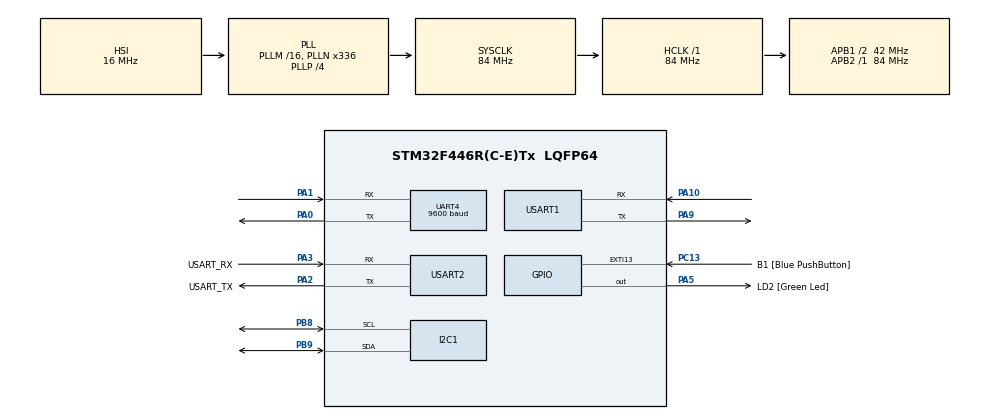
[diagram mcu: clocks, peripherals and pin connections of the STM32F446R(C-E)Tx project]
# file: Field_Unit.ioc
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Mcu.Family=STM32F4
Mcu.Name=STM32F446R(C-E)Tx
Mcu.Package=LQFP64
NVIC.EXTI15_10_IRQn=true\:0\:0\:false\:false\:true\:true\:true\:true
NVIC.PriorityGroup=NVIC_PRIORITYGROUP_0
NVIC.USART1_IRQn=true\:0\:0\:false\:false\:true\:true\:true\:true
PA0-WKUP.Mode=Asynchronous
PA0-WKUP.Signal=UART4_TX
PA1.Mode=Asynchronous
PA1.Signal=UART4_RX
PA10.Mode=Asynchronous
PA10.Signal=USART1_RX
PA13.GPIO_Label=TMS
PA13.Mode=Serial_Wire
PA13.Signal=SYS_JTMS-SWDIO
PA14.GPIO_Label=TCK
PA14.Mode=Serial_Wire
PA14.Signal=SYS_JTCK-SWCLK
PA2.GPIO_Label=USART_TX
PA2.Mode=Asynchronous
PA2.Signal=USART2_TX
PA3.GPIO_Label=USART_RX
PA3.Mode=Asynchronous
PA3.Signal=USART2_RX
PA5.GPIO_Label=LD2 [Green Led]
PA5.Signal=GPIO_Output
PA9.Mode=Asynchronous
PA9.Signal=USART1_TX
PB3.GPIO_Label=SWO
PB3.Signal=SYS_JTDO-SWO
PB8.Mode=I2C
PB8.Signal=I2C1_SCL
PB9.Mode=I2C
PB9.Signal=I2C1_SDA
PC13.GPIO_Label=B1 [Blue PushButton]
PC13.GPIO_ModeDefaultEXTI=GPIO_MODE_IT_FALLING
PC13.Signal=GPXTI13
PC14-OSC32_IN.Mode=LSE-External-Oscillator
PC14-OSC32_IN.Signal=RCC_OSC32_IN
PC15-OSC32_OUT.Mode=LSE-External-Oscillator
PC15-OSC32_OUT.Signal=RCC_OSC32_OUT
PH0-OSC_IN.Mode=HSE-External-Oscillator
PH0-OSC_IN.Signal=RCC_OSC_IN
PH1-OSC_OUT.Mode=HSE-External-Oscillator
PH1-OSC_OUT.Signal=RCC_OSC_OUT
ProjectManager.HeapSize=0x200
ProjectManager.StackSize=0x400
ProjectManager.TargetToolchain=STM32CubeIDE
RCC.48MHZClocksFreq_Value=84000000
RCC.AHBFreq_Value=84000000
RCC.APB1CLKDivider=RCC_HCLK_DIV2
RCC.APB1Freq_Value=42000000
RCC.APB1TimFreq_Value=84000000
RCC.APB2Freq_Value=84000000
RCC.APB2TimFreq_Value=84000000
RCC.CortexFreq_Value=84000000
RCC.FLatency-AdvancedSettings=FLASH_LATENCY_2
RCC.HCLKFreq_Value=84000000
RCC.HSE_VALUE=8000000
RCC.HSI_VALUE=16000000
RCC.PLLN=336
RCC.PLLP=RCC_PLLP_DIV4
RCC.SYSCLKFreq_VALUE=84000000
RCC.SYSCLKSource=RCC_SYSCLKSOURCE_PLLCLK
RCC.USBFreq_Value=168000000
RCC.VCOOutputFreq_Value=336000000
UART4.BaudRate=9600
UART4.VirtualMode=Asynchronous
USART1.VirtualMode=VM_ASYNC
USART2.VirtualMode=VM_ASYNC
board=NUCLEO-F446RE

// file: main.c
/* USER CODE BEGIN Header */
/**
  ******************************************************************************
  * @file           : main.c
  * @brief          : PECRN Field Node - Protocol V1
  ******************************************************************************
  */
/* USER CODE END Header */

#include "main.h"

/* USER CODE BEGIN Includes */
#include <string.h>
#include <stdlib.h>
#include <stdio.h>
#include <stdarg.h>
#include <math.h>

#include "ssd1306.h"
#include "ssd1306_fonts.h"
/* USER CODE END Includes */

/* USER CODE BEGIN PTD */

typedef enum
{
    GPS_STATE_SEARCHING = 0,
    GPS_STATE_FIX,
    GPS_STATE_LOST
} GPS_State_t;

/* USER CODE END PTD */

/* USER CODE BEGIN PD */

#define PROTOCOL_VERSION        "P1"

#define NODE_ID                 1
#define RELAY_ADDRESS           0

#define GPS_SEND_INTERVAL_MS    5000U
#define STATUS_INTERVAL_MS      10000U
#define GPS_FIX_TIMEOUT_MS      5000U

#define RACK_TIMEOUT_MS         2000U
#define MAX_RELAY_RETRIES       3
#define RETRY_DELAY_MS          100U

#define SOS_DEBOUNCE_MS         300U

#define GPS_MIN_FIX_QUALITY     1
#define GPS_MIN_SATELLITES      1
#define GPS_MAX_SATELLITES      64

#define GPS_LINE_SIZE           128
#define LORA_RX_SIZE            180
#define PACKET_SIZE             120
#define LORA_COMMAND_SIZE       160
#define DEBUG_BUFFER_SIZE       220

/*
 * Interrupt-driven LoRa RX ring buffer.
 */
#define LORA_RING_SIZE          512

/* USER CODE END PD */

I2C_HandleTypeDef hi2c1;

UART_HandleTypeDef huart4;
UART_HandleTypeDef huart1;
UART_HandleTypeDef huart2;

/* USER CODE BEGIN PV */

/* ============================================================
 * GPS
 * ============================================================ */

char gps_line[GPS_LINE_SIZE];
uint8_t gps_index = 0;

float latitude = 0.0f;
float longitude = 0.0f;

float last_latitude = 0.0f;
float last_longitude = 0.0f;

int satellites = 0;
int gps_fix = 0;

uint8_t has_last_position = 0;

GPS_State_t gps_state = GPS_STATE_SEARCHING;

uint32_t last_valid_fix_time = 0;

/* ============================================================
 * PACKET COUNTER
 * ============================================================ */

uint32_t packet_id = 0;

/* ============================================================
 * SOS
 * ============================================================ */

volatile uint8_t sos_requested = 0;
volatile uint32_t last_sos_interrupt_time = 0;

/* ============================================================
 * PERIODIC TIMERS
 * ============================================================ */

uint32_t last_gps_send = 0;
uint32_t last_status_send = 0;

/* ============================================================
 * LORA
 * ============================================================ */

/*
 * USART1 receives one byte at a time using interrupts.
 */
volatile uint8_t lora_uart_rx_byte;

/*
 * Software ring buffer.
 */
volatile uint8_t lora_ring[LORA_RING_SIZE];

volatile uint16_t lora_ring_head = 0;
volatile uint16_t lora_ring_tail = 0;

volatile uint8_t lora_ring_overflow = 0;

/*
 * Used when reconstructing unsolicited RYLR998 lines.
 */
char lora_rx_line[LORA_RX_SIZE];
uint16_t lora_rx_index = 0;

/* ============================================================
 * OLED
 * ============================================================ */

uint32_t last_oled_search_update = 0;

/* USER CODE END PV */

void SystemClock_Config(void);

static void MX_GPIO_Init(void);
static void MX_USART2_UART_Init(void);
static void MX_USART1_UART_Init(void);
static void MX_UART4_Init(void);
static void MX_I2C1_Init(void);

/* USER CODE BEGIN PFP */

static void Debug_Print(const char *format, ...);

static void OLED_ShowSearching(void);
static void OLED_ShowGPS(void);
static void OLED_ShowLost(void);
static void OLED_ShowSOS(const char *status);
static void OLED_ShowCommunicationFailure(void);

static void ProcessGPSByte(uint8_t byte);
static void ProcessGPSLine(void);
static void UpdateGPSState(void);
static uint8_t GPSPositionIsValid(void);

static void ProcessUnsolicitedLoRaByte(uint8_t byte);

static uint8_t LoRa_GetByte(uint8_t *byte);
static void FlushLoRaUART(void);

static uint8_t WaitForRelayACK(uint32_t expected_packet_id,
                               uint32_t timeout_ms);

static uint8_t SendPacketToRelayReliable(const char *packet,
                                         uint32_t id,
                                         uint8_t is_sos);

static void SendStatusPacket(void);
static void SendGPSPacket(void);
static void SendSOSPacket(void);

static void RestoreOLEDState(void);

static uint32_t NextPacketID(void);

/* USER CODE END PFP */

/* USER CODE BEGIN 0 */

/* ============================================================
 * DEBUG
 * ============================================================ */

static void Debug_Print(const char *format, ...)
{
    char buffer[DEBUG_BUFFER_SIZE];

    va_list args;

    va_start(args, format);

    vsnprintf(buffer,
              sizeof(buffer),
              format,
              args);

    va_end(args);

    HAL_UART_Transmit(&huart2,
                      (uint8_t *)buffer,
                      strlen(buffer),
                      100);
}

/* ============================================================
 * PACKET ID
 * ============================================================ */

static uint32_t NextPacketID(void)
{
    packet_id++;

    if (packet_id == 0)
    {
        packet_id = 1;
    }

    return packet_id;
}

/* ============================================================
 * GPS VALIDATION
 * ============================================================ */

static uint8_t GPSPositionIsValid(void)
{
    if (gps_fix < GPS_MIN_FIX_QUALITY)
    {
        return 0;
    }

    if (satellites < GPS_MIN_SATELLITES ||
        satellites > GPS_MAX_SATELLITES)
    {
        return 0;
    }

    if (!isfinite(latitude) ||
        !isfinite(longitude))
    {
        return 0;
    }

    if (latitude < -90.0f ||
        latitude > 90.0f)
    {
        return 0;
    }

    if (longitude < -180.0f ||
        longitude > 180.0f)
    {
        return 0;
    }

    if (fabsf(latitude) < 0.00001f &&
        fabsf(longitude) < 0.00001f)
    {
        return 0;
    }

    return 1;
}

/* ============================================================
 * OLED
 * ============================================================ */

static void OLED_ShowSearching(void)
{
    char buffer[32];

    ssd1306_Fill(Black);

    ssd1306_SetCursor(0, 0);
    ssd1306_WriteString("PECRN FIELD",
                        Font_7x10,
                        White);

    ssd1306_SetCursor(0, 18);
    ssd1306_WriteString("GPS SEARCHING",
                        Font_6x8,
                        White);

    ssd1306_SetCursor(0, 32);

    snprintf(buffer,
             sizeof(buffer),
             "SAT %d",
             satellites);

    ssd1306_WriteString(buffer,
                        Font_6x8,
                        White);

    ssd1306_SetCursor(0, 46);
    ssd1306_WriteString("NODE 1",
                        Font_6x8,
                        White);

    ssd1306_UpdateScreen();
}

static void OLED_ShowGPS(void)
{
    char buffer[32];

    ssd1306_Fill(Black);

    ssd1306_SetCursor(0, 0);
    ssd1306_WriteString("GPS FIX",
                        Font_7x10,
                        White);

    ssd1306_SetCursor(0, 16);

    snprintf(buffer,
             sizeof(buffer),
             "LAT %.5f",
             latitude);

    ssd1306_WriteString(buffer,
                        Font_6x8,
                        White);

    ssd1306_SetCursor(0, 28);

    snprintf(buffer,
             sizeof(buffer),
             "LON %.5f",
             longitude);

    ssd1306_WriteString(buffer,
                        Font_6x8,
                        White);

    ssd1306_SetCursor(0, 40);

    snprintf(buffer,
             sizeof(buffer),
             "SAT %d",
             satellites);

    ssd1306_WriteString(buffer,
                        Font_6x8,
                        White);

    ssd1306_SetCursor(0, 52);

    ssd1306_WriteString("NODE 1",
                        Font_6x8,
                        White);

    ssd1306_UpdateScreen();
}

static void OLED_ShowLost(void)
{
    ssd1306_Fill(Black);

    ssd1306_SetCursor(0, 0);
    ssd1306_WriteString("PECRN FIELD",
                        Font_7x10,
                        White);

    ssd1306_SetCursor(0, 18);
    ssd1306_WriteString("GPS LOST",
                        Font_7x10,
                        White);

    ssd1306_SetCursor(0, 34);

    if (has_last_position)
    {
        ssd1306_WriteString("LAST POS SAVED",
                            Font_6x8,
                            White);
    }
    else
    {
        ssd1306_WriteString("NO POSITION",
                            Font_6x8,
                            White);
    }

    ssd1306_SetCursor(0, 48);

    ssd1306_WriteString("SEARCHING...",
                        Font_6x8,
                        White);

    ssd1306_UpdateScreen();
}

static void OLED_ShowSOS(const char *status)
{
    ssd1306_Fill(Black);

    ssd1306_SetCursor(0, 0);

    ssd1306_WriteString("!!! SOS !!!",
                        Font_11x18,
                        White);

    ssd1306_SetCursor(0, 26);

    ssd1306_WriteString("EMERGENCY",
                        Font_7x10,
                        White);

    ssd1306_SetCursor(0, 42);

    ssd1306_WriteString((char *)status,
                        Font_6x8,
                        White);

    ssd1306_UpdateScreen();
}

static void OLED_ShowCommunicationFailure(void)
{
    ssd1306_Fill(Black);

    ssd1306_SetCursor(0, 0);

    ssd1306_WriteString("PECRN FIELD",
                        Font_7x10,
                        White);

    ssd1306_SetCursor(0, 18);

    ssd1306_WriteString("RADIO ERROR",
                        Font_7x10,
                        White);

    ssd1306_SetCursor(0, 36);

    ssd1306_WriteString("RELAY NO ACK",
                        Font_6x8,
                        White);

    ssd1306_UpdateScreen();
}

static void RestoreOLEDState(void)
{
    if (gps_state == GPS_STATE_FIX)
    {
        OLED_ShowGPS();
    }
    else if (gps_state == GPS_STATE_LOST)
    {
        OLED_ShowLost();
    }
    else
    {
        OLED_ShowSearching();
    }
}

/* ============================================================
 * GPS BYTE PROCESSING
 * ============================================================ */

static void ProcessGPSByte(uint8_t byte)
{
    if (byte == '\n')
    {
        gps_line[gps_index] = '\0';

        ProcessGPSLine();

        gps_index = 0;
    }
    else if (byte != '\r')
    {
        if (gps_index < GPS_LINE_SIZE - 1)
        {
            gps_line[gps_index++] = byte;
        }
        else
        {
            gps_index = 0;
        }
    }
}

/* ============================================================
 * GPS NMEA GGA PARSER
 * ============================================================ */

static void ProcessGPSLine(void)
{
    if ((strncmp(gps_line, "$GPGGA,", 7) != 0) &&
        (strncmp(gps_line, "$GNGGA,", 7) != 0))
    {
        return;
    }

    char copy[GPS_LINE_SIZE];

    strncpy(copy,
            gps_line,
            sizeof(copy) - 1);

    copy[sizeof(copy) - 1] = '\0';

    char *fields[15];

    int fieldCount = 0;

    fields[fieldCount++] = copy;

    for (char *p = copy;
         *p != '\0' && fieldCount < 15;
         p++)
    {
        if (*p == ',')
        {
            *p = '\0';

            fields[fieldCount++] =
                p + 1;
        }
    }

    if (fieldCount < 8)
    {
        Debug_Print(
            "[GPS] Reject: incomplete GGA\r\n");

        return;
    }

    const char *lat_str = fields[2];
    const char *ns_str  = fields[3];
    const char *lon_str = fields[4];
    const char *ew_str  = fields[5];
    const char *fix_str = fields[6];
    const char *sat_str = fields[7];

    if (strlen(lat_str) == 0 ||
        strlen(ns_str) == 0 ||
        strlen(lon_str) == 0 ||
        strlen(ew_str) == 0 ||
        strlen(fix_str) == 0 ||
        strlen(sat_str) == 0)
    {
        gps_fix = 0;
        return;
    }

    char ns = ns_str[0];
    char ew = ew_str[0];

    if (ns != 'N' && ns != 'S')
    {
        gps_fix = 0;
        return;
    }

    if (ew != 'E' && ew != 'W')
    {
        gps_fix = 0;
        return;
    }

    char *fix_end;
    char *sat_end;

    long new_fix_long =
        strtol(fix_str,
               &fix_end,
               10);

    long new_sat_long =
        strtol(sat_str,
               &sat_end,
               10);

    if (fix_end == fix_str ||
        *fix_end != '\0')
    {
        gps_fix = 0;
        return;
    }

    if (sat_end == sat_str ||
        *sat_end != '\0')
    {
        gps_fix = 0;
        return;
    }

    int new_fix =
        (int)new_fix_long;

    int new_satellites =
        (int)new_sat_long;

    if (new_satellites >= 0 &&
        new_satellites <= GPS_MAX_SATELLITES)
    {
        satellites =
            new_satellites;
    }

    if (new_fix < GPS_MIN_FIX_QUALITY)
    {
        gps_fix = 0;
        return;
    }

    if (new_satellites < GPS_MIN_SATELLITES ||
        new_satellites > GPS_MAX_SATELLITES)
    {
        gps_fix = 0;
        return;
    }

    char *lat_end;
    char *lon_end;

    float raw_lat =
        strtof(lat_str,
               &lat_end);

    float raw_lon =
        strtof(lon_str,
               &lon_end);

    if (lat_end == lat_str ||
        *lat_end != '\0')
    {
        gps_fix = 0;
        return;
    }

    if (lon_end == lon_str ||
        *lon_end != '\0')
    {
        gps_fix = 0;
        return;
    }

    if (!isfinite(raw_lat) ||
        !isfinite(raw_lon))
    {
        gps_fix = 0;
        return;
    }

    if (raw_lat <= 0.0f ||
        raw_lon <= 0.0f)
    {
        gps_fix = 0;
        return;
    }

    int lat_deg =
        (int)(raw_lat / 100.0f);

    int lon_deg =
        (int)(raw_lon / 100.0f);

    float lat_minutes =
        raw_lat -
        ((float)lat_deg * 100.0f);

    float lon_minutes =
        raw_lon -
        ((float)lon_deg * 100.0f);

    if (lat_minutes < 0.0f ||
        lat_minutes >= 60.0f ||
        lon_minutes < 0.0f ||
        lon_minutes >= 60.0f)
    {
        gps_fix = 0;
        return;
    }

    if (lat_deg < 0 ||
        lat_deg > 90 ||
        lon_deg < 0 ||
        lon_deg > 180)
    {
        gps_fix = 0;
        return;
    }

    float new_latitude =
        (float)lat_deg +
        lat_minutes / 60.0f;

    float new_longitude =
        (float)lon_deg +
        lon_minutes / 60.0f;

    if (ns == 'S')
    {
        new_latitude =
            -new_latitude;
    }

    if (ew == 'W')
    {
        new_longitude =
            -new_longitude;
    }

    if (!isfinite(new_latitude) ||
        !isfinite(new_longitude))
    {
        gps_fix = 0;
        return;
    }

    if (new_latitude < -90.0f ||
        new_latitude > 90.0f ||
        new_longitude < -180.0f ||
        new_longitude > 180.0f)
    {
        gps_fix = 0;
        return;
    }

    if (fabsf(new_latitude) < 0.00001f &&
        fabsf(new_longitude) < 0.00001f)
    {
        gps_fix = 0;
        return;
    }

    latitude =
        new_latitude;

    longitude =
        new_longitude;

    gps_fix =
        new_fix;

    satellites =
        new_satellites;

    last_latitude =
        latitude;

    last_longitude =
        longitude;

    has_last_position =
        1;

    last_valid_fix_time =
        HAL_GetTick();

    if (gps_state != GPS_STATE_FIX)
    {
        Debug_Print(
            "[GPS] VALID FIX ACQUIRED\r\n");

        Debug_Print(
            "[GPS] LAT %.5f LON %.5f SAT %d FIX %d\r\n",
            latitude,
            longitude,
            satellites,
            gps_fix);
    }

    gps_state =
        GPS_STATE_FIX;

    OLED_ShowGPS();
}

/* ============================================================
 * GPS LOST DETECTION
 * ============================================================ */

static void UpdateGPSState(void)
{
    uint32_t now =
        HAL_GetTick();

    if (gps_state == GPS_STATE_FIX &&
        (now - last_valid_fix_time >
         GPS_FIX_TIMEOUT_MS))
    {
        gps_state =
            GPS_STATE_LOST;

        gps_fix =
            0;

        Debug_Print(
            "[GPS] FIX LOST\r\n");

        OLED_ShowLost();
    }
}

/* ============================================================
 * UNSOLICITED LORA DATA
 * ============================================================ */

static void ProcessUnsolicitedLoRaByte(uint8_t byte)
{
    if (byte == '\n')
    {
        lora_rx_line[lora_rx_index] =
            '\0';

        if (lora_rx_index > 0)
        {
            Debug_Print(
                "[LORA] %s\r\n",
                lora_rx_line);
        }

        lora_rx_index = 0;

        memset(lora_rx_line,
               0,
               sizeof(lora_rx_line));
    }
    else if (byte != '\r')
    {
        if (lora_rx_index <
            LORA_RX_SIZE - 1)
        {
            lora_rx_line[lora_rx_index++] =
                (char)byte;
        }
        else
        {
            lora_rx_index = 0;

            memset(lora_rx_line,
                   0,
                   sizeof(lora_rx_line));
        }
    }
}

/* ============================================================
 * LORA INTERRUPT RING BUFFER
 * ============================================================ */

static uint8_t LoRa_GetByte(uint8_t *byte)
{
    if (lora_ring_tail ==
        lora_ring_head)
    {
        return 0;
    }

    *byte =
        lora_ring[lora_ring_tail];

    lora_ring_tail =
        (uint16_t)(
            (lora_ring_tail + 1U) %
            LORA_RING_SIZE);

    return 1;
}

/* ============================================================
 * FLUSH OLD LORA DATA
 * ============================================================ */

static void FlushLoRaUART(void)
{
    /*
     * USART1 itself remains interrupt-driven.
     *
     * We only discard bytes currently waiting in
     * the software ring buffer.
     */

    __disable_irq();

    lora_ring_tail =
        lora_ring_head;

    lora_ring_overflow =
        0;

    __enable_irq();

    lora_rx_index =
        0;

    memset(lora_rx_line,
           0,
           sizeof(lora_rx_line));
}

/* ============================================================
 * WAIT FOR RELAY RACK
 *
 * Expected RYLR998 response:
 *
 * +RCV=0,<length>,P1,RACK,1,<packetID>,RSSI,SNR
 *
 * USART1 reception itself is interrupt-driven.
 * ============================================================ */

static uint8_t WaitForRelayACK(uint32_t expected_packet_id,
                               uint32_t timeout_ms)
{
    uint32_t start =
        HAL_GetTick();

    char line[LORA_RX_SIZE];

    uint16_t line_index =
        0;

    memset(line,
           0,
           sizeof(line));

    char expected_ack[48];

    snprintf(expected_ack,
             sizeof(expected_ack),
             "%s,RACK,%d,%lu",
             PROTOCOL_VERSION,
             NODE_ID,
             (unsigned long)
             expected_packet_id);

    Debug_Print(
        "[RACK WAIT] Expecting %s\r\n",
        expected_ack);

    while ((HAL_GetTick() - start) <
           timeout_ms)
    {
        uint8_t byte;

        /*
         * Keep GPS alive while waiting.
         */
        while (HAL_UART_Receive(&huart4,
                                &byte,
                                1,
                                1) == HAL_OK)
        {
            ProcessGPSByte(byte);
        }

        /*
         * USART1 interrupt places bytes into
         * the ring buffer.
         */
        if (!LoRa_GetByte(&byte))
        {
            UpdateGPSState();
            continue;
        }

        /*
         * Ignore carriage return.
         */
        if (byte == '\r')
        {
            continue;
        }

        /*
         * Newline = complete RYLR998 response.
         */
        if (byte == '\n')
        {
            if (line_index == 0)
            {
                continue;
            }

            line[line_index] =
                '\0';

            Debug_Print(
                "[LORA RX LINE] %s\r\n",
                line);

            /*
             * Local RYLR998 accepted AT+SEND.
             *
             * This is NOT the relay RACK.
             */
            if (strcmp(line,
                       "+OK") == 0)
            {
                Debug_Print(
                    "[LORA] TX command accepted\r\n");

                line_index = 0;

                memset(line,
                       0,
                       sizeof(line));

                continue;
            }

            /*
             * RYLR998 error.
             */
            if (strncmp(line,
                        "+ERR=",
                        5) == 0)
            {
                Debug_Print(
                    "[LORA ERROR] %s\r\n",
                    line);

                line_index = 0;

                memset(line,
                       0,
                       sizeof(line));

                continue;
            }

            /*
             * Incoming LoRa packet.
             */
            if (strncmp(line,
                        "+RCV=",
                        5) == 0)
            {
                char *first_comma =
                    strchr(line, ',');

                if (first_comma != NULL)
                {
                    char address_buffer[12];

                    size_t address_length =
                        (size_t)(
                            first_comma -
                            (line + 5));

                    if (address_length > 0 &&
                        address_length <
                        sizeof(address_buffer))
                    {
                        memcpy(
                            address_buffer,
                            line + 5,
                            address_length);

                        address_buffer[
                            address_length] =
                            '\0';

                        int source_address =
                            atoi(address_buffer);

                        Debug_Print(
                            "[LORA RX] Source %d\r\n",
                            source_address);

                        /*
                         * RACK must come from relay 0.
                         */
                        if (source_address ==
                            RELAY_ADDRESS)
                        {
                            if (strstr(
                                    line,
                                    expected_ack)
                                != NULL)
                            {
                                Debug_Print(
                                    "[RACK] Packet %lu accepted by relay\r\n",
                                    (unsigned long)
                                    expected_packet_id);

                                return 1;
                            }

                            Debug_Print(
                                "[RACK] Relay packet does not match expected ACK\r\n");
                        }
                        else
                        {
                            Debug_Print(
                                "[RACK] Ignoring LoRa source %d\r\n",
                                source_address);
                        }
                    }
                }
            }

            line_index =
                0;

            memset(line,
                   0,
                   sizeof(line));

            continue;
        }

        /*
         * Normal UART character.
         */
        if (line_index <
            sizeof(line) - 1)
        {
            line[line_index++] =
                (char)byte;
        }
        else
        {
            Debug_Print(
                "[LORA] RX line overflow - discarded\r\n");

            line_index =
                0;

            memset(line,
                   0,
                   sizeof(line));
        }

        UpdateGPSState();
    }

    Debug_Print(
        "[RACK TIMEOUT] Packet %lu\r\n",
        (unsigned long)
        expected_packet_id);

    return 0;
}

/* ============================================================
 * RELIABLE FIELD -> RELAY SEND
 * ============================================================ */

static uint8_t SendPacketToRelayReliable(const char *packet,
                                         uint32_t id,
                                         uint8_t is_sos)
{
    char command[LORA_COMMAND_SIZE];

    size_t payload_length =
        strlen(packet);

    snprintf(command,
             sizeof(command),
             "AT+SEND=%d,%u,%s\r\n",
             RELAY_ADDRESS,
             (unsigned int)
             payload_length,
             packet);

    for (int attempt = 1;
         attempt <= MAX_RELAY_RETRIES;
         attempt++)
    {
        /*
         * SOS has priority over ordinary telemetry.
         */
        if (!is_sos &&
            sos_requested)
        {
            Debug_Print(
                "[TX] Normal packet interrupted by SOS\r\n");

            return 0;
        }

        /*
         * Remove old responses before sending.
         */
        FlushLoRaUART();

        Debug_Print(
            "[TX] Packet %lu attempt %d/%d\r\n",
            (unsigned long)id,
            attempt,
            MAX_RELAY_RETRIES);

        Debug_Print(
            "[TX] %s\r\n",
            packet);

        HAL_UART_Transmit(
            &huart1,
            (uint8_t *)command,
            strlen(command),
            HAL_MAX_DELAY);

        if (WaitForRelayACK(
                id,
                RACK_TIMEOUT_MS))
        {
            return 1;
        }

        /*
         * Short retry delay while still processing GPS.
         */
        uint32_t delay_start =
            HAL_GetTick();

        while ((HAL_GetTick() -
                delay_start) <
               RETRY_DELAY_MS)
        {
            uint8_t gps_byte;

            if (HAL_UART_Receive(
                    &huart4,
                    &gps_byte,
                    1,
                    1) == HAL_OK)
            {
                ProcessGPSByte(
                    gps_byte);
            }

            if (!is_sos &&
                sos_requested)
            {
                return 0;
            }
        }
    }

    Debug_Print(
        "[ERROR] Packet %lu not accepted by relay\r\n",
        (unsigned long)id);

    return 0;
}

/* ============================================================
 * STATUS PACKET
 * ============================================================ */

static void SendStatusPacket(void)
{
    char packet[PACKET_SIZE];

    uint32_t id =
        NextPacketID();

    if (gps_state == GPS_STATE_FIX &&
        GPSPositionIsValid())
    {
        snprintf(
            packet,
            sizeof(packet),
            "%s,STATUS,%d,%lu,GPS_FIX,%d",
            PROTOCOL_VERSION,
            NODE_ID,
            (unsigned long)id,
            satellites);
    }
    else if (gps_state ==
             GPS_STATE_LOST &&
             has_last_position)
    {
        snprintf(
            packet,
            sizeof(packet),
            "%s,STATUS,%d,%lu,GPS_LOST",
            PROTOCOL_VERSION,
            NODE_ID,
            (unsigned long)id);
    }
    else
    {
        snprintf(
            packet,
            sizeof(packet),
            "%s,STATUS,%d,%lu,NO_GPS",
            PROTOCOL_VERSION,
            NODE_ID,
            (unsigned long)id);
    }

    uint8_t success =
        SendPacketToRelayReliable(
            packet,
            id,
            0);

    if (!success &&
        !sos_requested)
    {
        Debug_Print(
            "[STATUS] Relay unavailable\r\n");
    }
}

/* ============================================================
 * GPS PACKET
 * ============================================================ */

static void SendGPSPacket(void)
{
    if (gps_state !=
        GPS_STATE_FIX)
    {
        return;
    }

    if (!GPSPositionIsValid())
    {
        Debug_Print(
            "[GPS] TX BLOCKED: invalid GPS state\r\n");

        gps_fix =
            0;

        if (has_last_position)
        {
            gps_state =
                GPS_STATE_LOST;

            OLED_ShowLost();
        }
        else
        {
            gps_state =
                GPS_STATE_SEARCHING;

            OLED_ShowSearching();
        }

        return;
    }

    char packet[PACKET_SIZE];

    uint32_t id =
        NextPacketID();

    snprintf(
        packet,
        sizeof(packet),
        "%s,GPS,%d,%lu,%.5f,%.5f,%d",
        PROTOCOL_VERSION,
        NODE_ID,
        (unsigned long)id,
        latitude,
        longitude,
        satellites);

    uint8_t success =
        SendPacketToRelayReliable(
            packet,
            id,
            0);

    if (!success &&
        !sos_requested)
    {
        Debug_Print(
            "[GPS] Relay unavailable - telemetry dropped\r\n");
    }
}

/* ============================================================
 * SOS PACKET
 * ============================================================ */

static void SendSOSPacket(void)
{
    char packet[PACKET_SIZE];

    uint32_t id =
        NextPacketID();

    if (gps_state == GPS_STATE_FIX &&
        GPSPositionIsValid())
    {
        snprintf(
            packet,
            sizeof(packet),
            "%s,SOS,%d,%lu,%.5f,%.5f,FIX",
            PROTOCOL_VERSION,
            NODE_ID,
            (unsigned long)id,
            latitude,
            longitude);

        OLED_ShowSOS(
            "GPS CURRENT");
    }
    else if (has_last_position &&
             isfinite(last_latitude) &&
             isfinite(last_longitude) &&
             last_latitude >= -90.0f &&
             last_latitude <= 90.0f &&
             last_longitude >= -180.0f &&
             last_longitude <= 180.0f &&
             !(fabsf(last_latitude) <
                   0.00001f &&
               fabsf(last_longitude) <
                   0.00001f))
    {
        snprintf(
            packet,
            sizeof(packet),
            "%s,SOS,%d,%lu,%.5f,%.5f,LAST_KNOWN",
            PROTOCOL_VERSION,
            NODE_ID,
            (unsigned long)id,
            last_latitude,
            last_longitude);

        OLED_ShowSOS(
            "LAST GPS POS");
    }
    else
    {
        has_last_position =
            0;

        last_latitude =
            0.0f;

        last_longitude =
            0.0f;

        snprintf(
            packet,
            sizeof(packet),
            "%s,SOS,%d,%lu,NO_GPS",
            PROTOCOL_VERSION,
            NODE_ID,
            (unsigned long)id);

        OLED_ShowSOS(
            "NO GPS FIX");
    }

    Debug_Print("\r\n");

    Debug_Print(
        "********************************\r\n");

    Debug_Print(
        "*** SOS BUTTON PRESSED      ***\r\n");

    Debug_Print(
        "*** Packet ID: %-10lu ***\r\n",
        (unsigned long)id);

    Debug_Print(
        "********************************\r\n");

    Debug_Print(
        "[SOS] %s\r\n",
        packet);

    uint8_t accepted =
        SendPacketToRelayReliable(
            packet,
            id,
            1);

    if (accepted)
    {
        Debug_Print(
            "[SOS] Relay accepted emergency packet %lu\r\n",
            (unsigned long)id);

        OLED_ShowSOS(
            "RELAY ACCEPTED");

        uint32_t start =
            HAL_GetTick();

        while ((HAL_GetTick() - start) <
               1000U)
        {
            uint8_t gps_byte;

            if (HAL_UART_Receive(
                    &huart4,
                    &gps_byte,
                    1,
                    1) == HAL_OK)
            {
                ProcessGPSByte(
                    gps_byte);
            }
        }
    }
    else
    {
        Debug_Print(
            "[SOS] CRITICAL: Relay did not accept packet %lu\r\n",
            (unsigned long)id);

        OLED_ShowCommunicationFailure();

        uint32_t start =
            HAL_GetTick();

        while ((HAL_GetTick() - start) <
               2000U)
        {
            uint8_t gps_byte;

            if (HAL_UART_Receive(
                    &huart4,
                    &gps_byte,
                    1,
                    1) == HAL_OK)
            {
                ProcessGPSByte(
                    gps_byte);
            }
        }
    }

    RestoreOLEDState();
}

/* USER CODE END 0 */

int main(void)
{

    /* MCU Configuration------------------------------------------------------*/

    HAL_Init();

    SystemClock_Config();

    /* Initialize all configured peripherals */

    MX_GPIO_Init();

    MX_USART2_UART_Init();

    MX_USART1_UART_Init();

    MX_UART4_Init();

    MX_I2C1_Init();

    /* USER CODE BEGIN 2 */

    ssd1306_Init();

    OLED_ShowSearching();

    /*
     * ========================================================
     * START INTERRUPT-DRIVEN RYLR998 RECEPTION
     * ========================================================
     *
     * Receive one USART1 byte.
     *
     * HAL_UART_RxCpltCallback() will store it and immediately
     * arm reception for the next byte.
     */

    if (HAL_UART_Receive_IT(
            &huart1,
            (uint8_t *)&lora_uart_rx_byte,
            1) != HAL_OK)
    {
        Error_Handler();
    }

    Debug_Print("\r\n");

    Debug_Print(
        "========================================\r\n");

    Debug_Print(
        "PECRN FIELD NODE\r\n");

    Debug_Print(
        "Protocol: %s\r\n",
        PROTOCOL_VERSION);

    Debug_Print(
        "Node ID: %d\r\n",
        NODE_ID);

    Debug_Print(
        "Relay LoRa Address: %d\r\n",
        RELAY_ADDRESS);

    Debug_Print(
        "GPS UART: 9600\r\n");

    Debug_Print(
        "LoRa UART: 115200 INTERRUPT RX\r\n");

    Debug_Print(
        "SOS Button: PC13 / B1\r\n");

    Debug_Print(
        "GPS validation: ENABLED\r\n");

    Debug_Print(
        "RACK timeout: %lu ms\r\n",
        (unsigned long)
        RACK_TIMEOUT_MS);

    Debug_Print(
        "Max relay attempts: %d\r\n",
        MAX_RELAY_RETRIES);

    Debug_Print(
        "========================================\r\n\r\n");

    uint32_t now =
        HAL_GetTick();

    last_gps_send =
        now;

    last_status_send =
        now;

    last_oled_search_update =
        now;

    /* USER CODE END 2 */

    /* Infinite loop */

    /* USER CODE BEGIN WHILE */

    while (1)
    {
        uint8_t byte;

        /*
         * ====================================================
         * GPS
         * ====================================================
         */

        while (HAL_UART_Receive(
                   &huart4,
                   &byte,
                   1,
                   1) == HAL_OK)
        {
            ProcessGPSByte(
                byte);
        }

        /*
         * ====================================================
         * LORA
         * ====================================================
         *
         * Hardware reception is done by USART1 interrupt.
         *
         * Here we process bytes already captured by the ISR.
         */

        while (LoRa_GetByte(&byte))
        {
            ProcessUnsolicitedLoRaByte(
                byte);
        }

        /*
         * Detect software RX buffer overflow.
         */

        if (lora_ring_overflow)
        {
            lora_ring_overflow =
                0;

            Debug_Print(
                "[LORA] WARNING: RX ring buffer overflow\r\n");
        }

        UpdateGPSState();

        /*
         * ====================================================
         * SOS PRIORITY
         * ====================================================
         */

        if (sos_requested)
        {
            sos_requested =
                0;

            SendSOSPacket();

            uint32_t current =
                HAL_GetTick();

            last_gps_send =
                current;

            last_status_send =
                current;

            continue;
        }

        uint32_t current =
            HAL_GetTick();

        /*
         * ====================================================
         * GPS TELEMETRY
         * ====================================================
         */

        if ((gps_state ==
             GPS_STATE_FIX) &&
            (current -
             last_gps_send >=
             GPS_SEND_INTERVAL_MS))
        {
            last_gps_send =
                current;

            SendGPSPacket();

            if (sos_requested)
            {
                continue;
            }
        }

        /*
         * ====================================================
         * STATUS
         * ====================================================
         */

        current =
            HAL_GetTick();

        if (current -
            last_status_send >=
            STATUS_INTERVAL_MS)
        {
            last_status_send =
                current;

            SendStatusPacket();
        }

        /*
         * ====================================================
         * OLED SEARCH UPDATE
         * ====================================================
         */

        current =
            HAL_GetTick();

        if ((gps_state ==
             GPS_STATE_SEARCHING) &&
            (current -
             last_oled_search_update >=
             1000U))
        {
            last_oled_search_update =
                current;

            OLED_ShowSearching();
        }
    }

    /* USER CODE END WHILE */

}

void SystemClock_Config(void)
{
    RCC_OscInitTypeDef RCC_OscInitStruct =
        {0};

    RCC_ClkInitTypeDef RCC_ClkInitStruct =
        {0};

    __HAL_RCC_PWR_CLK_ENABLE();

    __HAL_PWR_VOLTAGESCALING_CONFIG(
        PWR_REGULATOR_VOLTAGE_SCALE3);

    RCC_OscInitStruct.OscillatorType =
        RCC_OSCILLATORTYPE_HSI;

    RCC_OscInitStruct.HSIState =
        RCC_HSI_ON;

    RCC_OscInitStruct.HSICalibrationValue =
        RCC_HSICALIBRATION_DEFAULT;

    RCC_OscInitStruct.PLL.PLLState =
        RCC_PLL_ON;

    RCC_OscInitStruct.PLL.PLLSource =
        RCC_PLLSOURCE_HSI;

    RCC_OscInitStruct.PLL.PLLM =
        16;

    RCC_OscInitStruct.PLL.PLLN =
        336;

    RCC_OscInitStruct.PLL.PLLP =
        RCC_PLLP_DIV4;

    RCC_OscInitStruct.PLL.PLLQ =
        2;

    RCC_OscInitStruct.PLL.PLLR =
        2;

    if (HAL_RCC_OscConfig(
            &RCC_OscInitStruct) != HAL_OK)
    {
        Error_Handler();
    }

    RCC_ClkInitStruct.ClockType =
        RCC_CLOCKTYPE_HCLK |
        RCC_CLOCKTYPE_SYSCLK |
        RCC_CLOCKTYPE_PCLK1 |
        RCC_CLOCKTYPE_PCLK2;

    RCC_ClkInitStruct.SYSCLKSource =
        RCC_SYSCLKSOURCE_PLLCLK;

    RCC_ClkInitStruct.AHBCLKDivider =
        RCC_SYSCLK_DIV1;

    RCC_ClkInitStruct.APB1CLKDivider =
        RCC_HCLK_DIV2;

    RCC_ClkInitStruct.APB2CLKDivider =
        RCC_HCLK_DIV1;

    if (HAL_RCC_ClockConfig(
            &RCC_ClkInitStruct,
            FLASH_LATENCY_2) != HAL_OK)
    {
        Error_Handler();
    }
}

static void MX_I2C1_Init(void)
{

    hi2c1.Instance =
        I2C1;

    hi2c1.Init.ClockSpeed =
        100000;

    hi2c1.Init.DutyCycle =
        I2C_DUTYCYCLE_2;

    hi2c1.Init.OwnAddress1 =
        0;

    hi2c1.Init.AddressingMode =
        I2C_ADDRESSINGMODE_7BIT;

    hi2c1.Init.DualAddressMode =
        I2C_DUALADDRESS_DISABLE;

    hi2c1.Init.OwnAddress2 =
        0;

    hi2c1.Init.GeneralCallMode =
        I2C_GENERALCALL_DISABLE;

    hi2c1.Init.NoStretchMode =
        I2C_NOSTRETCH_DISABLE;

    if (HAL_I2C_Init(
            &hi2c1) != HAL_OK)
    {
        Error_Handler();
    }

}

static void MX_UART4_Init(void)
{

    huart4.Instance =
        UART4;

    huart4.Init.BaudRate =
        9600;

    huart4.Init.WordLength =
        UART_WORDLENGTH_8B;

    huart4.Init.StopBits =
        UART_STOPBITS_1;

    huart4.Init.Parity =
        UART_PARITY_NONE;

    huart4.Init.Mode =
        UART_MODE_TX_RX;

    huart4.Init.HwFlowCtl =
        UART_HWCONTROL_NONE;

    huart4.Init.OverSampling =
        UART_OVERSAMPLING_16;

    if (HAL_UART_Init(
            &huart4) != HAL_OK)
    {
        Error_Handler();
    }

}

static void MX_USART1_UART_Init(void)
{

    huart1.Instance =
        USART1;

    huart1.Init.BaudRate =
        115200;

    huart1.Init.WordLength =
        UART_WORDLENGTH_8B;

    huart1.Init.StopBits =
        UART_STOPBITS_1;

    huart1.Init.Parity =
        UART_PARITY_NONE;

    huart1.Init.Mode =
        UART_MODE_TX_RX;

    huart1.Init.HwFlowCtl =
        UART_HWCONTROL_NONE;

    huart1.Init.OverSampling =
        UART_OVERSAMPLING_16;

    if (HAL_UART_Init(
            &huart1) != HAL_OK)
    {
        Error_Handler();
    }

}

static void MX_USART2_UART_Init(void)
{

    huart2.Instance =
        USART2;

    huart2.Init.BaudRate =
        115200;

    huart2.Init.WordLength =
        UART_WORDLENGTH_8B;

    huart2.Init.StopBits =
        UART_STOPBITS_1;

    huart2.Init.Parity =
        UART_PARITY_NONE;

    huart2.Init.Mode =
        UART_MODE_TX_RX;

    huart2.Init.HwFlowCtl =
        UART_HWCONTROL_NONE;

    huart2.Init.OverSampling =
        UART_OVERSAMPLING_16;

    if (HAL_UART_Init(
            &huart2) != HAL_OK)
    {
        Error_Handler();
    }

}

static void MX_GPIO_Init(void)
{
    GPIO_InitTypeDef GPIO_InitStruct =
        {0};

    __HAL_RCC_GPIOC_CLK_ENABLE();

    __HAL_RCC_GPIOH_CLK_ENABLE();

    __HAL_RCC_GPIOA_CLK_ENABLE();

    __HAL_RCC_GPIOB_CLK_ENABLE();

    HAL_GPIO_WritePin(
        LD2_GPIO_Port,
        LD2_Pin,
        GPIO_PIN_RESET);

    /*
     * SOS BUTTON
     */

    GPIO_InitStruct.Pin =
        B1_Pin;

    GPIO_InitStruct.Mode =
        GPIO_MODE_IT_FALLING;

    GPIO_InitStruct.Pull =
        GPIO_NOPULL;

    HAL_GPIO_Init(
        B1_GPIO_Port,
        &GPIO_InitStruct);

    /*
     * LED
     */

    GPIO_InitStruct.Pin =
        LD2_Pin;

    GPIO_InitStruct.Mode =
        GPIO_MODE_OUTPUT_PP;

    GPIO_InitStruct.Pull =
        GPIO_NOPULL;

    GPIO_InitStruct.Speed =
        GPIO_SPEED_FREQ_LOW;

    HAL_GPIO_Init(
        LD2_GPIO_Port,
        &GPIO_InitStruct);

    /*
     * EXTI interrupt
     */

    HAL_NVIC_SetPriority(
        EXTI15_10_IRQn,
        0,
        0);

    HAL_NVIC_EnableIRQ(
        EXTI15_10_IRQn);

}

/* USER CODE BEGIN 4 */

/* ============================================================
 * SOS BUTTON INTERRUPT
 * ============================================================ */

void HAL_GPIO_EXTI_Callback(uint16_t GPIO_Pin)
{
    if (GPIO_Pin == B1_Pin)
    {
        uint32_t now =
            HAL_GetTick();

        if ((now -
             last_sos_interrupt_time) >=
            SOS_DEBOUNCE_MS)
        {
            last_sos_interrupt_time =
                now;

            sos_requested =
                1;

            HAL_GPIO_TogglePin(
                LD2_GPIO_Port,
                LD2_Pin);
        }
    }
}

/* ============================================================
 * USART1 RECEIVE COMPLETE INTERRUPT CALLBACK
 *
 * USART1 = RYLR998
 *
 * Keep this ISR callback short:
 *
 * 1. Store received byte.
 * 2. Advance ring buffer.
 * 3. Re-arm USART1 RX interrupt.
 *
 * Do NOT parse packets or print debug information here.
 * ============================================================ */

void HAL_UART_RxCpltCallback(UART_HandleTypeDef *huart)
{
    if (huart->Instance == USART1)
    {
        uint16_t next_head =
            (uint16_t)(
                (lora_ring_head + 1U) %
                LORA_RING_SIZE);

        /*
         * Check whether the ring buffer has space.
         */
        if (next_head !=
            lora_ring_tail)
        {
            lora_ring[
                lora_ring_head] =
                lora_uart_rx_byte;

            lora_ring_head =
                next_head;
        }
        else
        {
            /*
             * Ring buffer full.
             *
             * Do not overwrite unread data.
             */
            lora_ring_overflow =
                1;
        }

        /*
         * Re-arm reception immediately for the next byte.
         */
        HAL_UART_Receive_IT(
            &huart1,
            (uint8_t *)&lora_uart_rx_byte,
            1);
    }
}

/* USER CODE END 4 */

void Error_Handler(void)
{
    __disable_irq();
    while (1)
    {
    }
}
